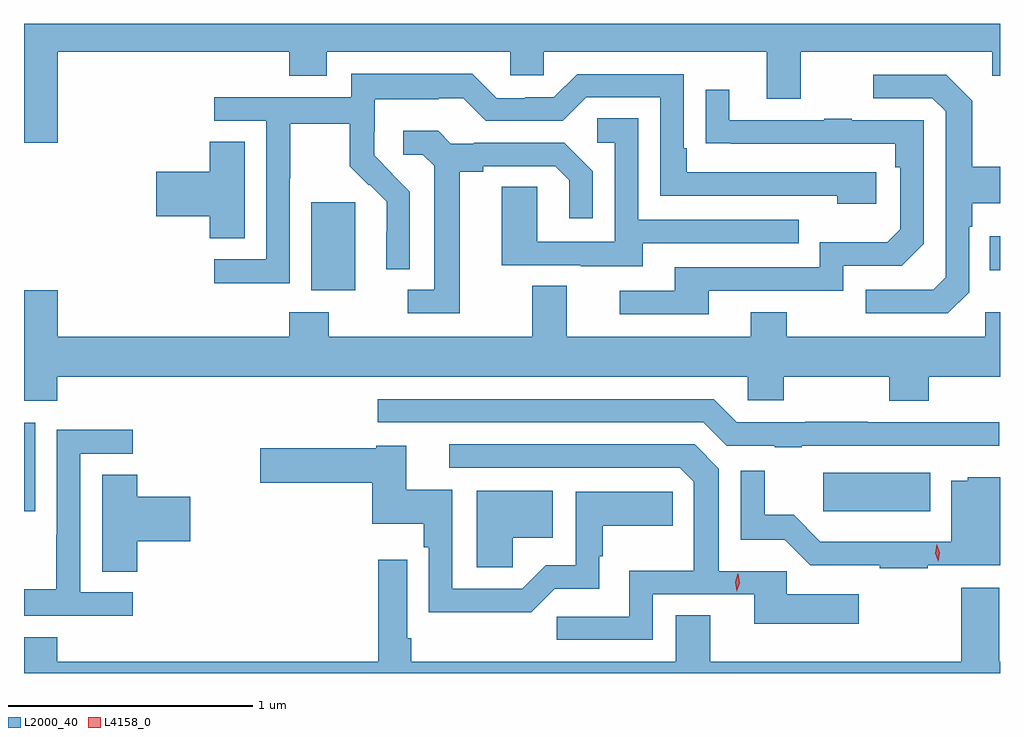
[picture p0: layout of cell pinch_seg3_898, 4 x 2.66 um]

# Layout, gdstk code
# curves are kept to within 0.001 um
import gdstk
lib = gdstk.Library(unit=1e-6, precision=1e-09)
def R(c, l, rs):  # rectangles x0, y0, x1, y1
    for r in rs: c.add(gdstk.rectangle(r[:2], r[2:], *l))
def P(c, l, *ps):  # polygons
    for p in ps: c.add(gdstk.Polygon(p, *l))
L2000_40 = (2000, 40)
L4158_0 = (4158, 0)

pinch_seg3_898 = lib.new_cell('pinch_seg3_898')
R(pinch_seg3_898, L2000_40, [(779.697,667.064,780.136,667.222), (776.421,667.065,776.467,667.426), (777.599,667.97,777.778,668.331), (780.379,668.051,780.421,668.191)])
P(pinch_seg3_898, L2000_40, [(776.56,668.948),(777.509,668.948),(777.509,668.849),(777.661,668.849),(777.661,668.948),(778.413,668.948),(778.413,668.85),(778.551,668.85),(778.551,668.948),(779.465,668.948),(779.465,668.754),(779.605,668.754),(779.605,668.948),(780.389,668.948),(780.389,668.849),(780.421,668.849),(780.421,669.062),(776.421,669.062),(776.421,668.574),(776.56,668.574)],
  [(777.51,668.428),(777.513,668.428),(777.513,668.652),(777.757,668.652),(777.757,668.477),(777.834,668.4),(777.837,668.403),(777.908,668.333),(777.908,668.21),(777.906,668.21),(777.906,668.056),(778.002,668.056),(778.002,668.374),(777.856,668.522),(777.856,668.619),(777.858,668.619),(777.858,668.753),(778.121,668.753),(778.121,668.757),(778.221,668.757),(778.314,668.664),(778.629,668.664),(778.725,668.76),(779.028,668.76),(779.028,668.358),(779.753,668.358),(779.753,668.324),(779.914,668.324),(779.914,668.454),(779.137,668.454),(779.137,668.551),(779.124,668.551),(779.124,668.856),(778.689,668.856),(778.593,668.76),(778.475,668.76),(778.475,668.757),(778.359,668.757),(778.259,668.857),(777.762,668.857),(777.762,668.76),(777.201,668.76),(777.201,668.664),(777.414,668.664),(777.414,668.097),(777.201,668.097),(777.201,667.999),(777.51,667.999)],
  [(780.294,667.962),(780.294,668.231),(780.307,668.231),(780.307,668.327),(780.421,668.327),(780.421,668.475),(780.307,668.475),(780.307,668.747),(780.201,668.853),(779.901,668.853),(779.901,668.757),(780.144,668.757),(780.198,668.703),(780.198,668.022),(780.147,667.971),(779.871,667.971),(779.871,667.875),(780.207,667.875)],
  [(779.227,667.968),(779.778,667.968),(779.778,668.07),(780.018,668.07),(780.108,668.16),(780.108,668.667),(779.813,668.667),(779.813,668.672),(779.701,668.672),(779.701,668.667),(779.311,668.667),(779.311,668.791),(779.215,668.791),(779.215,668.572),(779.992,668.571),(779.992,668.474),(780.012,668.474),(780.012,668.22),(779.959,668.167),(779.682,668.167),(779.682,668.064),(779.087,668.064),(779.087,667.968),(778.863,667.968),(778.863,667.872),(779.227,667.872)],
  [(778.957,668.163),(779.597,668.163),(779.597,668.259),(778.938,668.259),(778.938,668.675),(778.77,668.675),(778.77,668.574),(778.842,668.574),(778.842,668.169),(778.524,668.169),(778.524,668.393),(778.379,668.393),(778.379,668.073),(778.703,668.073),(778.703,668.069),(778.957,668.069)],
  [(778.207,668.456),(778.303,668.456),(778.303,668.478),(778.598,668.478),(778.655,668.421),(778.655,668.265),(778.752,668.265),(778.752,668.458),(778.636,668.574),(778.264,668.574),(778.264,668.571),(778.17,668.571),(778.118,668.623),(777.975,668.623),(777.975,668.526),(778.056,668.526),(778.103,668.479),(778.103,667.971),(777.993,667.971),(777.993,667.875),(778.207,667.875)],
  [(777.325,668.579),(777.182,668.579),(777.182,668.456),(776.964,668.456),(776.964,668.273),(777.182,668.273),(777.182,668.182),(777.325,668.182)],
  [(776.558,667.616),(779.388,667.616),(779.388,667.518),(779.535,667.518),(779.535,667.616),(779.968,667.616),(779.968,667.517),(780.128,667.517),(780.128,667.616),(780.421,667.616),(780.421,667.879),(780.36,667.879),(780.36,667.78),(779.547,667.78),(779.547,667.879),(779.399,667.879),(779.399,667.78),(778.645,667.78),(778.645,667.988),(778.505,667.988),(778.505,667.78),(777.669,667.78),(777.669,667.879),(777.509,667.879),(777.509,667.78),(776.56,667.78),(776.56,667.969),(776.421,667.969),(776.421,667.517),(776.558,667.517)],
  [(779.609,667.332),(780.418,667.332),(780.418,667.428),(779.879,667.428),(779.879,667.43),(779.623,667.43),(779.623,667.428),(779.343,667.428),(779.247,667.524),(777.87,667.524),(777.87,667.428),(779.205,667.428),(779.301,667.332),(779.498,667.332),(779.498,667.327),(779.609,667.327)],
  [(776.866,666.732),(776.652,666.732),(776.652,667.299),(776.866,667.299),(776.866,667.398),(776.556,667.398),(776.556,666.968),(776.554,666.968),(776.554,666.745),(776.421,666.745),(776.421,666.636),(776.866,666.636)],
  [(778.998,666.723),(779.414,666.723),(779.414,666.602),(779.842,666.602),(779.842,666.724),(779.548,666.724),(779.548,666.819),(779.269,666.819),(779.269,667.238),(779.169,667.338),(778.164,667.338),(778.164,667.242),(779.109,667.242),(779.166,667.185),(779.166,666.821),(778.902,666.821),(778.902,666.632),(778.605,666.632),(778.605,666.537),(778.998,666.537)],
  [(778.596,666.747),(778.779,666.747),(778.779,666.879),(778.792,666.879),(778.792,667.004),(779.08,667.004),(779.08,667.143),(778.683,667.144),(778.683,666.843),(778.56,666.843),(778.464,666.747),(778.176,666.747),(778.176,667.153),(777.988,667.153),(777.988,667.333),(777.864,667.333),(777.864,667.323),(777.39,667.323),(777.39,667.181),(777.848,667.181),(777.848,667.013),(778.06,667.013),(778.06,666.917),(778.08,666.917),(778.08,666.65),(778.499,666.65)],
  [(780.125,666.843),(780.421,666.843),(780.421,667.204),(780.288,667.204),(780.288,667.189),(780.221,667.189),(780.221,666.939),(779.685,666.939),(779.575,667.049),(779.457,667.049),(779.457,667.231),(779.358,667.231),(779.358,666.948),(779.538,666.948),(779.643,666.843),(779.929,666.843),(779.929,666.831),(780.125,666.831)],
  [(776.885,666.941),(777.103,666.941),(777.103,667.124),(776.885,667.124),(776.885,667.214),(776.741,667.214),(776.741,666.817),(776.885,666.817)],
  [(778.424,666.956),(778.588,666.956),(778.588,667.147),(778.277,667.147),(778.277,666.834),(778.424,666.834)],
  [(780.421,666.448),(780.417,666.448),(780.417,666.751),(780.262,666.751),(780.262,666.448),(779.233,666.448),(779.233,666.638),(779.093,666.638),(779.093,666.448),(778.009,666.448),(778.009,666.544),(777.991,666.544),(777.991,666.865),(777.873,666.865),(777.873,666.448),(776.558,666.448),(776.558,666.547),(776.421,666.547),(776.421,666.4),(780.421,666.4)])
P(pinch_seg3_898, L4158_0, [(779.343,666.736),(779.343,666.736),(779.335,666.773),(779.347,666.808),(779.347,666.808),(779.348,666.808),(779.355,666.771),(779.343,666.736)],
  [(780.168,666.859),(780.168,666.859),(780.155,666.892),(780.161,666.928),(780.162,666.928),(780.162,666.928),(780.175,666.894),(780.168,666.859)])

lib.write_gds('pinch_seg3_898.gds')
